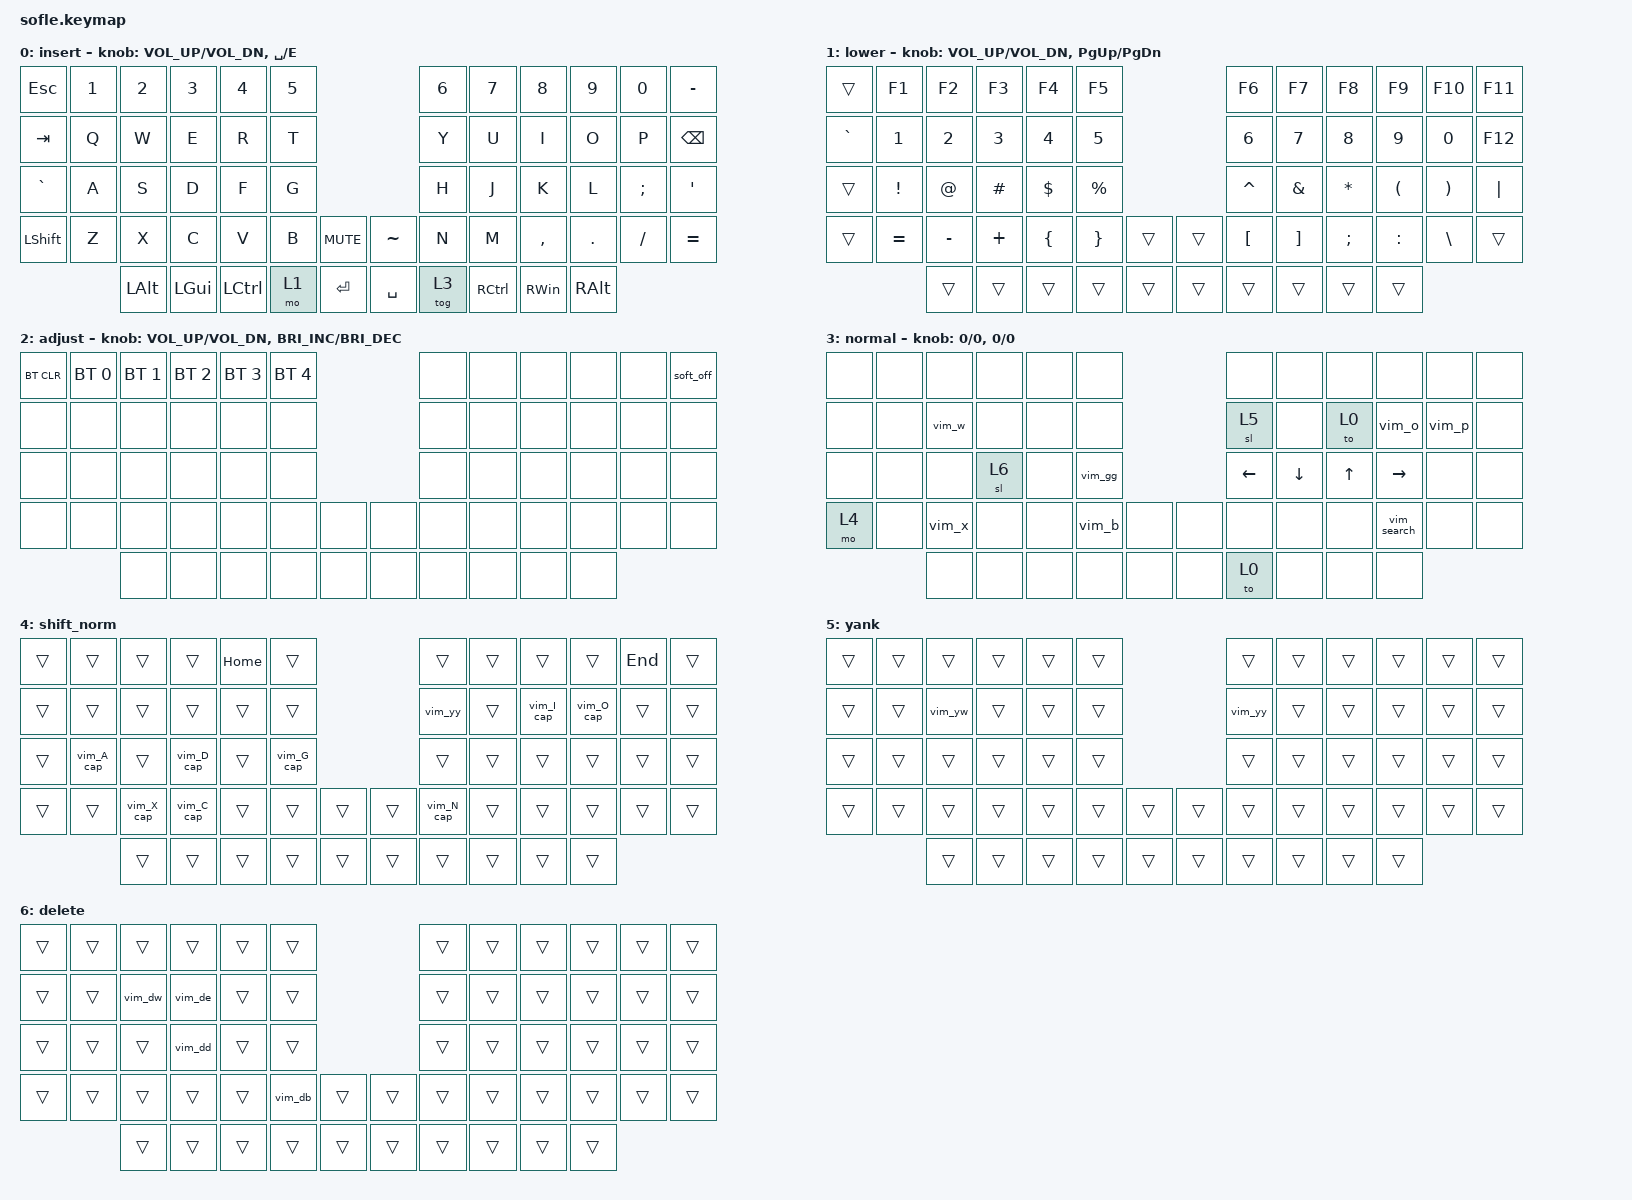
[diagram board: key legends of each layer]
/*
 * Copyright (c) 2020 The ZMK Contributors
 *
 * SPDX-License-Identifier: MIT
 */

#include <behaviors.dtsi>
#include <dt-bindings/zmk/bt.h>
#include <dt-bindings/zmk/keys.h>

#define BASE 0
#define LOWER 1
#define RAISE 2
#define ADJUST 3

/ {
    // Activate ADJUST layer by pressing raise and lower

    conditional_layers {
        compatible = "zmk,conditional-layers";

        adjust_layer {
            if-layers = <1 2>;
            then-layer = <2>;
        };
    };

    macros {
        // Navigation macros (these don't change layers)

        vim_w: vim_w {
            compatible = "zmk,behavior-macro";
            #binding-cells = <0>;
            bindings = <&kp LC(RIGHT)>;
        };

        vim_b: vim_b {
            compatible = "zmk,behavior-macro";
            #binding-cells = <0>;
            bindings = <&kp LC(LEFT)>;
        };

        // Delete (cut) operations

        vim_x: vim_x {
            compatible = "zmk,behavior-macro";
            #binding-cells = <0>;
            bindings = <&kp LS(RIGHT) &kp LC(X)>;
        };

        vim_X_cap: vim_X_cap {
            compatible = "zmk,behavior-macro";
            #binding-cells = <0>;
            bindings = <&kp LS(LEFT) &kp LC(X)>;
        };

        vim_dw: vim_dw {
            compatible = "zmk,behavior-macro";
            #binding-cells = <0>;
            bindings = <&kp LC(LS(RIGHT)) &kp LC(X)>;
        };

        vim_db: vim_db {
            compatible = "zmk,behavior-macro";
            #binding-cells = <0>;
            bindings = <&kp LC(LS(LEFT)) &kp LC(X)>;
        };

        vim_de: vim_de {
            compatible = "zmk,behavior-macro";
            #binding-cells = <0>;
            bindings = <&kp LC(LS(RIGHT)) &kp LC(X)>;
        };

        vim_dd: vim_dd {
            compatible = "zmk,behavior-macro";
            #binding-cells = <0>;
            bindings = <&kp HOME &kp LS(END) &kp LC(X)>;
        };

        vim_D_cap: vim_D_cap {
            compatible = "zmk,behavior-macro";
            #binding-cells = <0>;
            bindings = <&kp LS(END) &kp LC(X)>;
        };

        // Change operations (cut, cursor positioned for insert, user releases RAISE to enter insert mode)

        vim_cw: vim_cw {
            compatible = "zmk,behavior-macro";
            #binding-cells = <0>;
            bindings = <&kp LC(LS(RIGHT)) &kp LC(X)>;
        };

        vim_ciw: vim_ciw {
            compatible = "zmk,behavior-macro";
            #binding-cells = <0>;
            bindings = <&kp LC(LS(RIGHT)) &kp LC(X)>;
        };

        vim_C_cap: vim_C_cap {
            compatible = "zmk,behavior-macro";
            #binding-cells = <0>;
            bindings = <&kp LS(END) &kp LC(X)>;
        };

        // Yank (copy) operations

        vim_yw: vim_yw {
            compatible = "zmk,behavior-macro";
            #binding-cells = <0>;
            bindings = <&kp LC(LS(RIGHT)) &kp LC(C)>;
        };

        vim_yy: vim_yy {
            compatible = "zmk,behavior-macro";
            #binding-cells = <0>;
            bindings = <&kp HOME &kp LS(END) &kp LC(C)>;
        };

        // Insert mode operations (position cursor, user releases RAISE to enter insert mode)
        // vim_i: just release RAISE, no macro needed

        vim_I_cap: vim_I_cap {
            compatible = "zmk,behavior-macro";
            #binding-cells = <0>;
            bindings = <&kp HOME &to 0>;
        };

        vim_a: vim_a {
            compatible = "zmk,behavior-macro";
            #binding-cells = <0>;
            bindings = <&kp RIGHT &to 0>;
        };

        vim_A_cap: vim_A_cap {
            compatible = "zmk,behavior-macro";
            #binding-cells = <0>;
            bindings = <&kp END &to 0>;
        };

        vim_o: vim_o {
            compatible = "zmk,behavior-macro";
            #binding-cells = <0>;
            bindings = <&kp END &kp ENTER &to 0>;
        };

        vim_O_cap: vim_O_cap {
            compatible = "zmk,behavior-macro";
            #binding-cells = <0>;
            bindings = <&kp HOME &kp UP &kp END &kp ENTER &to 0>;
        };

        // Search

        vim_search: vim_search {
            compatible = "zmk,behavior-macro";
            #binding-cells = <0>;
            bindings = <&kp LC(F)>;
        };

        vim_n: vim_n {
            compatible = "zmk,behavior-macro";
            #binding-cells = <0>;
            bindings = <&kp F3>;
        };

        vim_N_cap: vim_N_cap {
            compatible = "zmk,behavior-macro";
            #binding-cells = <0>;
            bindings = <&kp LS(F3)>;
        };

        // File navigation

        vim_gg: vim_gg {
            compatible = "zmk,behavior-macro";
            #binding-cells = <0>;
            bindings = <&kp LC(HOME)>;
        };

        vim_G_cap: vim_G_cap {
            compatible = "zmk,behavior-macro";
            #binding-cells = <0>;
            bindings = <&kp LC(END)>;
        };

        // Paste

        vim_p: vim_p {
            compatible = "zmk,behavior-macro";
            #binding-cells = <0>;
            bindings = <&kp LC(V)>;
        };
    };

    combos { compatible = "zmk,combos"; };

    keymap {
        compatible = "zmk,keymap";

        insert_layer {
            display-name = "insert";

            // ------------------------------------------------------------------------------------------------------------
            // |   `   |  1  |  2  |  3   |  4   |  5   |                   |  6   |  7    |  8    |  9   |   0   |       |
            // |  ESC  |  Q  |  W  |  E   |  R   |  T   |                   |  Y   |  U    |  I    |  O   |   P   | BKSPC |
            // |  TAB  |  A  |  S  |  D   |  F   |  G   |                   |  H   |  J    |  K    |  L   |   ;   |   '   |
            // | SHIFT |  Z  |  X  |  C   |  V   |  B   |  MUTE  |  |       |  N   |  M    |  ,    |  .   |   /   | SHIFT |
            //               | GUI | ALT  | CTRL | LOWER|  ENTER |  | SPACE | RAISE| CTRL  | ALT   | GUI  |

            bindings = <
&kp ESCAPE  &kp N1  &kp N2    &kp N3        &kp N4     &kp N5                           &kp N6  &kp N7     &kp N8     &kp N9         &kp N0    &kp MINUS
&kp TAB     &kp Q   &kp W     &kp E         &kp R      &kp T                            &kp Y   &kp U      &kp I      &kp O          &kp P     &kp BSPC
&kp GRAVE   &kp A   &kp S     &kp D         &kp F      &kp G                            &kp H   &kp J      &kp K      &kp L          &kp SEMI  &kp SQT
&kp LSHFT   &kp Z   &kp X     &kp C         &kp V      &kp B   &kp C_MUTE    &kp TILDE  &kp N   &kp M      &kp COMMA  &kp DOT        &kp FSLH  &kp EQUAL
                    &kp LALT  &kp LEFT_GUI  &kp LCTRL  &mo 1   &kp RET       &kp SPACE  &tog 3  &kp RCTRL  &kp RWIN   &kp RIGHT_ALT
            >;

            sensor-bindings =
                <&inc_dec_kp C_VOL_UP C_VOL_DN>,
                <&inc_dec_kp SPACE E>;
        };

        lower_layer {
            display-name = "lower";

            // TODO: Some binds are waiting for shifted keycode support.
            // ------------------------------------------------------------------------------------------------------------
            // |       |  F1 |  F2 |  F3  |  F4  |  F5  |                   |  F6  |  F7   |  F8   |  F9  |  F10  |  F11  |
            // |   `   |  1  |  2  |  3   |  4   |  5   |                   |  6   |  7    |  8    |  9   |   0   |  F12  |
            // |       |  !  |  @  |  #   |  $   |  %   |                   |  ^   |  &    |  *    |  (   |   )   |   |   |
            // |       |  =  |  -  |  +   |  {   |  }   |        |  |       |  [   |  ]    |  ;    |  :   |   \   |       |
            //               |     |      |      |      |        |  |       |      |       |       |      |

            bindings = <
&trans     &kp F1     &kp F2     &kp F3    &kp F4    &kp F5                       &kp F6     &kp F7    &kp F8     &kp F9     &kp F10   &kp F11
&kp GRAVE  &kp N1     &kp N2     &kp N3    &kp N4    &kp N5                       &kp N6     &kp N7    &kp N8     &kp N9     &kp N0    &kp F12
&trans     &kp EXCL   &kp AT     &kp HASH  &kp DLLR  &kp PRCNT                    &kp CARET  &kp AMPS  &kp ASTRK  &kp LPAR   &kp RPAR  &kp PIPE
&trans     &kp EQUAL  &kp MINUS  &kp PLUS  &kp LBRC  &kp RBRC   &trans    &trans  &kp LBKT   &kp RBKT  &kp SEMI   &kp COLON  &kp BSLH  &trans
                      &trans     &trans    &trans    &trans     &trans    &trans  &trans     &trans    &trans     &trans
            >;

            sensor-bindings = <&inc_dec_kp C_VOL_UP C_VOL_DN &inc_dec_kp PG_UP PG_DN>;
        };

        adjust_layer {
            display-name = "adjust";

            // Adjustment layer for Bluetooth and system controls
            // Activated when both LOWER and RAISE are held
            // ------------------------------------------------------------------------------------------------------------
            // | BTCLR| BT1  | BT2  | BT3  | BT4  | BT5  |                |      |      |      |      |      |SOFTOFF|
            // |      |      |      |      |      |      |                |      |      |      |      |      |       |
            // |      |      |      |      |      |      |                |      |      |      |      |      |       |
            // |      |      |      |      |      |      |      |  |      |      |      |      |      |      |       |
            //               |      |      |      |      |      |  |      |      |      |      |      |

            bindings = <
&bt BT_CLR  &bt BT_SEL 0  &bt BT_SEL 1  &bt BT_SEL 2  &bt BT_SEL 3  &bt BT_SEL 4                  &none  &none  &none  &none  &none  &soft_off
&none       &none         &none         &none         &none         &none                         &none  &none  &none  &none  &none  &none
&none       &none         &none         &none         &none         &none                         &none  &none  &none  &none  &none  &none
&none       &none         &none         &none         &none         &none         &none    &none  &none  &none  &none  &none  &none  &none
                          &none         &none         &none         &none         &none    &none  &none  &none  &none  &none
            >;

            sensor-bindings =
                <&inc_dec_kp C_VOL_UP C_VOL_DN>,
                <&inc_dec_kp C_BRIGHTNESS_INC C_BRIGHTNESS_DEC>;
        };

        normal {
            bindings = <
&none  &none  &none   &none  &none  &none                    &none     &none     &none   &none        &none   &none
&none  &none  &vim_w  &none  &none  &none                    &sl 5     &none     &to 0   &vim_o       &vim_p  &none
&none  &none  &none   &sl 6  &none  &vim_gg                  &kp LEFT  &kp DOWN  &kp UP  &kp RIGHT    &none   &none
&mo 4  &none  &vim_x  &none  &none  &vim_b   &none    &none  &none     &none     &none   &vim_search  &none   &none
              &none   &none  &none  &none    &none    &none  &to 0     &none     &none   &none
            >;

            sensor-bindings = <&inc_dec_kp 0 0>, <&inc_dec_kp 0 0>;
        };

        shift_norm {
            bindings = <
&trans  &trans      &trans      &trans      &kp HOME  &trans                        &trans      &trans  &trans      &trans      &kp END  &trans
&trans  &trans      &trans      &trans      &trans    &trans                        &vim_yy     &trans  &vim_I_cap  &vim_O_cap  &trans   &trans
&trans  &vim_A_cap  &trans      &vim_D_cap  &trans    &vim_G_cap                    &trans      &trans  &trans      &trans      &trans   &trans
&trans  &trans      &vim_X_cap  &vim_C_cap  &trans    &trans      &trans    &trans  &vim_N_cap  &trans  &trans      &trans      &trans   &trans
                    &trans      &trans      &trans    &trans      &trans    &trans  &trans      &trans  &trans      &trans
            >;
        };

        yank {
            bindings = <
&trans  &trans  &trans   &trans  &trans  &trans                    &trans   &trans  &trans  &trans  &trans  &trans
&trans  &trans  &vim_yw  &trans  &trans  &trans                    &vim_yy  &trans  &trans  &trans  &trans  &trans
&trans  &trans  &trans   &trans  &trans  &trans                    &trans   &trans  &trans  &trans  &trans  &trans
&trans  &trans  &trans   &trans  &trans  &trans  &trans    &trans  &trans   &trans  &trans  &trans  &trans  &trans
                &trans   &trans  &trans  &trans  &trans    &trans  &trans   &trans  &trans  &trans
            >;
        };

        delete {
            bindings = <
&trans  &trans  &trans   &trans   &trans  &trans                     &trans  &trans  &trans  &trans  &trans  &trans
&trans  &trans  &vim_dw  &vim_de  &trans  &trans                     &trans  &trans  &trans  &trans  &trans  &trans
&trans  &trans  &trans   &vim_dd  &trans  &trans                     &trans  &trans  &trans  &trans  &trans  &trans
&trans  &trans  &trans   &trans   &trans  &vim_db  &trans    &trans  &trans  &trans  &trans  &trans  &trans  &trans
                &trans   &trans   &trans  &trans   &trans    &trans  &trans  &trans  &trans  &trans
            >;
        };
    };
};
